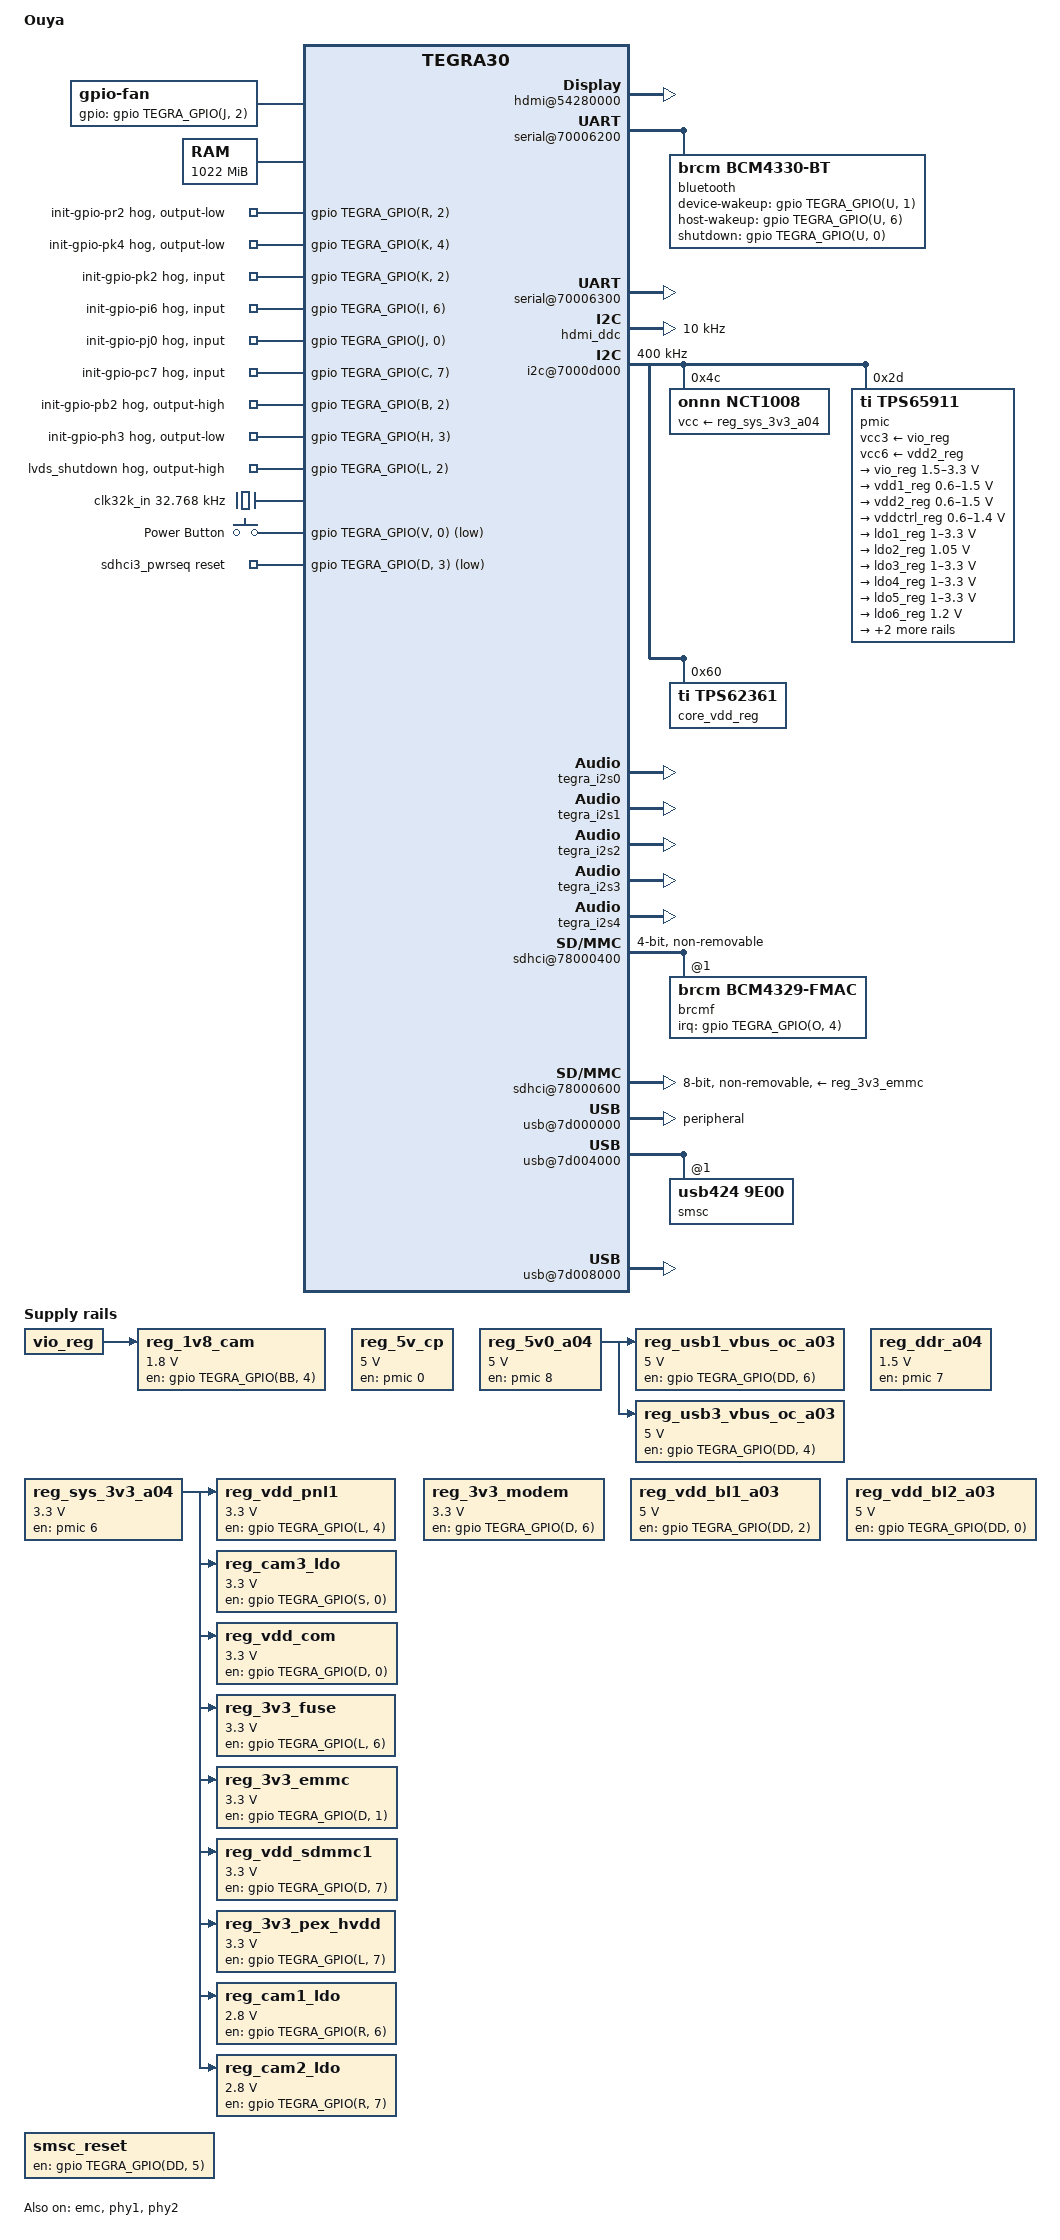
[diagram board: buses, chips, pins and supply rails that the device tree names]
/dts-v1/;

#include <dt-bindings/input/input.h>
#include <dt-bindings/thermal/thermal.h>

#include "tegra30.dtsi"
#include "tegra30-cpu-opp.dtsi"
#include "tegra30-cpu-opp-microvolt.dtsi"
#include "tegra30-ouya-pinmux.dtsi"

/ {
	model = "Ouya";
	compatible = "nvidia,ouya", "nvidia,tegra30";

	aliases {
		/*
		rtc0 = "/i2c@7000d000/tps65911@2d";
		rtc1 = "/rtc@7000e000";
		*/
		serial0 = &uartd;
		serial1 = &uartc;
	};

	chosen {
		stdout-path = "serial0:115200n8";
		bootargs = "ignore_loglevel clk_ignore_unused";
	};

	cpus {
		#address-cells = <1>;
		#size-cells = <0>;

		cpu0: cpu@0 {
			#cooling-cells = <2>;

			cpu-supply = <&vddctrl_reg>;
			core-supply = <&core_vdd_reg>;
		};
		cpu1: cpu@1 {
		};
		cpu2: cpu@2 {
		};
		cpu3: cpu@3 {
		};
	};

	fan: gpio_fan {
		compatible = "gpio-fan";
		gpios = <&gpio TEGRA_GPIO(J, 2) GPIO_ACTIVE_HIGH>;
		gpio-fan,speed-map = <0 0
				      4500 1>;
		#cooling-cells = <2>;
	};

	thermal-zones {
		fan_thermal: fan-thermal {
			polling-delay = <1000>;
			polling-delay-passive = <250>;

			thermal-sensors = <&nct1008 1>;

			trips {
				cpu_alert_fan: cpu-alert-fan {
					temperature = <60000>;
					hysteresis = <15000>;
					type = "active";
				};
				cpu_crit: cpu-crit {
					temperature = <90000>;
					hysteresis = <2000>;
					type = "critical";
				};
			};

			cooling-maps {
				fan-map0 {
					trip = <&cpu_alert_fan>;
					cooling-device = <&fan 1
							  THERMAL_NO_LIMIT>;
				};
			};
		};

		cpufreq_thermal: cpufreq-thermal {
			polling-delay = <1000>;
			polling-delay-passive = <250>;

			thermal-sensors = <&nct1008 0>;

			trips {
				cpufreq_alert: cpufreq-alert {
					temperature = <55000>;
					hysteresis = <10000>;
					type = "active";
				};
			};

			cooling-maps {
				/* Throttle CPU down to 1.16 Ghz */
				cpufreq-map0 {
					trip = <&cpufreq_alert>;
					cooling-device = <&cpu0 0 9>,
							 <&cpu1 0 9>,
							 <&cpu2 0 9>,
							 <&cpu3 0 9>;
				};
			};
		};

	};

	memory@80000000 {
		reg = <0x80000000 0x3fe00000>;
	};

	reserved-memory {
		#address-cells = <1>;
		#size-cells = <1>;
		ranges;

		android_logger: ram-console@beb00000 {
			reg = <0xbeb00000 0x00100000>;
			no-map;
		};
	};

	ram_console {
		compatible = "android,ram-console";
		status = "ok";
		android,ram-buffer-start = <0xbeb00000>;
		android,ram-buffer-size = <0x00100000>;
	};

	firmware {
		trusted-foundations {
			compatible = "tlm,trusted-foundations";
			tlm,version-major = <0x2>;
			tlm,version-minor = <0x8>;
		};
	};

	host1x@50000000 {

		vi@54080000 {
			status = "disabled";
		};

		isp@54100000 {
			status = "disabled";
		};

		hdmi@54280000 {
			status = "okay";
			nvidia,hpd-gpio = <&gpio TEGRA_GPIO(N, 7)
					   GPIO_ACTIVE_HIGH>;
			/* nvidia,ddc-i2c-bus = <&hdmi_ddc>; */

			/* 1280x720 */
			nvidia,edid = [ 00ffffff ffffff00 31d80000 00000000
					05160103 6d211278 ea5ec0a4 594a9825
					20505400 000081c0 01010101 01010101
					01010101 01011a1d 008051d0 1c204080
					35004dbb 1000001e 000000ff 004c696e
					75782023 300a2020 20200000 00fd003b
					3d2b2d08 000a2020 20202020 000000fc
					00313238 30783732 300a2020 2020005b ];
		};
	};

	gpio: gpio@6000d000 {
		/* regulator initialization handles these */
		/*
		init-gpio-pdd6 {
			gpio-hog;
			gpios = <TEGRA_GPIO(DD, 6) GPIO_ACTIVE_HIGH>;
			output-low;
		};
		init-gpio-pdd4 {
			gpio-hog;
			gpios = <TEGRA_GPIO(DD, 4) GPIO_ACTIVE_HIGH>;
			output-low;
		};
		*/
		init-gpio-pr2 {
			gpio-hog;
			gpios = <TEGRA_GPIO(R, 2) GPIO_ACTIVE_HIGH>;
			output-low;
		};

		init-gpio-pk4 {
			gpio-hog;
			gpios = <TEGRA_GPIO(K, 4) GPIO_ACTIVE_HIGH>;
			output-low;
		};
		init-gpio-pk2 {
			gpio-hog;
			gpios = <TEGRA_GPIO(K, 2) GPIO_ACTIVE_HIGH>;
			input;
		};
		init-gpio-pi6 {
			gpio-hog;
			gpios = <TEGRA_GPIO(I, 6) GPIO_ACTIVE_HIGH>;
			input;
		};
		init-gpio-pj0 {
			gpio-hog;
			gpios = <TEGRA_GPIO(J, 0) GPIO_ACTIVE_HIGH>;
			input;
		};
		init-gpio-pc7 {
			gpio-hog;
			gpios = <TEGRA_GPIO(C, 7) GPIO_ACTIVE_HIGH>;
			input;
		};
		init-gpio-pb2 {
			gpio-hog;
			gpios = <TEGRA_GPIO(B, 2) GPIO_ACTIVE_HIGH>;
			output-high;
		};
		init-gpio-ph3 {
			gpio-hog;
			gpios = <TEGRA_GPIO(H, 3) GPIO_ACTIVE_HIGH>;
			output-low;
		};

		init-gpio-pl2 {
			gpio-hog;
			gpios = <TEGRA_GPIO(L, 2) GPIO_ACTIVE_HIGH>;
			output-high;
			line-name = "lvds_shutdown";
		};
	};

	pinmux@70000868 {
		state_default: pinmux {
			/* smsc9500 reset */
			pex_l1_rst_n_pdd5 {
				nvidia,pins = "pex_l1_rst_n_pdd5";
				nvidia,function = "pcie";
				nvidia,pull = <TEGRA_PIN_PULL_DOWN>;
				nvidia,tristate = <TEGRA_PIN_DISABLE>;
				nvidia,enable-input = <TEGRA_PIN_DISABLE>;
			};

			/* wifi reset */
			sdmmc3_dat6_pd3 {
				nvidia,pins = "sdmmc3_dat6_pd3";
				nvidia,function = "sdmmc3";
				nvidia,pull = <TEGRA_PIN_PULL_UP>;
				nvidia,tristate = <TEGRA_PIN_DISABLE>;
				nvidia,enable-input = <TEGRA_PIN_DISABLE>;
			};
			/* wifi power */
			sdmmc3_dat7_pd4 {
				nvidia,pins = "sdmmc3_dat7_pd4";
				nvidia,function = "sdmmc3";
				nvidia,pull = <TEGRA_PIN_PULL_DOWN>;
				nvidia,tristate = <TEGRA_PIN_DISABLE>;
				nvidia,enable-input = <TEGRA_PIN_DISABLE>;
			};

			/* wifi */
			sdmmc3_clk_pa6 {
				nvidia,pins = "sdmmc3_clk_pa6";
				nvidia,function = "sdmmc3";
				nvidia,pull = <TEGRA_PIN_PULL_NONE>;
				nvidia,tristate = <TEGRA_PIN_DISABLE>;
				nvidia,enable-input = <TEGRA_PIN_ENABLE>;
			};
			sdmmc3_cmd_pa7 {
				nvidia,pins = "sdmmc3_cmd_pa7";
				nvidia,function = "sdmmc3";
				nvidia,pull = <TEGRA_PIN_PULL_UP>;
				nvidia,tristate = <TEGRA_PIN_DISABLE>;
				nvidia,enable-input = <TEGRA_PIN_ENABLE>;
			};
			sdmmc3_dat0_pb7 {
				nvidia,pins = "sdmmc3_dat3_pb4",
					      "sdmmc3_dat2_pb5",
					      "sdmmc3_dat1_pb6",
					      "sdmmc3_dat0_pb7";

				nvidia,function = "sdmmc3";
				nvidia,pull = <TEGRA_PIN_PULL_UP>;
				nvidia,tristate = <TEGRA_PIN_DISABLE>;
				nvidia,enable-input = <TEGRA_PIN_ENABLE>;
			};

			/* emmc */
			sdmmc4_clk_pcc4 {
				nvidia,pins = "sdmmc4_clk_pcc4";
				nvidia,function = "sdmmc4";
				nvidia,pull = <TEGRA_PIN_PULL_NONE>;
				nvidia,tristate = <TEGRA_PIN_DISABLE>;
				nvidia,enable-input = <TEGRA_PIN_ENABLE>;
			};
			sdmmc4_cmd_pt7 {
				nvidia,pins = "sdmmc4_cmd_pt7";
				nvidia,function = "sdmmc4";
				nvidia,pull = <TEGRA_PIN_PULL_NONE>;
				nvidia,tristate = <TEGRA_PIN_DISABLE>;
				nvidia,enable-input = <TEGRA_PIN_ENABLE>;
			};
			sdmmc4_dat0_paa0 {
				nvidia,pins =
					"sdmmc4_dat0_paa0", "sdmmc4_dat1_paa1",
					"sdmmc4_dat2_paa2", "sdmmc4_dat3_paa3",
					"sdmmc4_dat4_paa4", "sdmmc4_dat5_paa5",
					"sdmmc4_dat6_paa6", "sdmmc4_dat7_paa7";
				nvidia,function = "sdmmc4";
				nvidia,pull = <TEGRA_PIN_PULL_UP>;
				nvidia,tristate = <TEGRA_PIN_DISABLE>;
				nvidia,enable-input = <TEGRA_PIN_ENABLE>;
			};
			sdmmc4_rst_n_pcc3 {
				nvidia,pins = "sdmmc4_rst_n_pcc3";
				nvidia,function = "sdmmc4";
				nvidia,pull = <TEGRA_PIN_PULL_DOWN>;
				nvidia,tristate = <TEGRA_PIN_DISABLE>;
				nvidia,enable-input = <TEGRA_PIN_ENABLE>;
			};
		};
	};

	serial@70006200 {
		status = "okay";
		compatible = "nvidia,tegra30-hsuart";

		bluetooth {
			compatible = "brcm,bcm4330-bt";
			status = "okay";

			device-wakeup-gpios = <&gpio TEGRA_GPIO(U, 1)
					       GPIO_ACTIVE_HIGH>;
			host-wakeup-gpios = <&gpio TEGRA_GPIO(U, 6)
					     GPIO_ACTIVE_HIGH>;
			shutdown-gpios = <&gpio TEGRA_GPIO(U, 0)
					  GPIO_ACTIVE_HIGH>;

			clocks = <&tegra_car TEGRA30_CLK_UARTC>;
			clock-names = "txco";
			max-speed = <2000000>;
		};
	};

	serial@70006300 {
		status = "okay";
	};

	hdmi_ddc: i2c@7000c700 {
		status = "okay";
		clock-frequency = <10000>;
	};

	i2c@7000d000 {
		status = "okay";
		multi-master;
		clock-frequency = <400000>;

		nct1008: temperature-sensor@4c {
			compatible = "onnn,nct1008";
			reg = <0x4c>;
			vcc-supply = <&reg_sys_3v3_a04>;

			/*
			 * Alert interrupt is broken.
			 * The IRQ remains triggered permanently.
			 */
			/*
			interrupt-parent = <&gpio>;
			interrupts = <TEGRA_GPIO(CC, 2) IRQ_TYPE_LEVEL_LOW>;
			*/

			#thermal-sensor-cells = <1>;
		};

		pmic: tps65911@2d {
			compatible = "ti,tps65911";
			reg = <0x2d>;

			interrupts = <GIC_SPI 86 IRQ_TYPE_LEVEL_HIGH>;
			#interrupt-cells = <2>;
			interrupt-controller;

			#gpio-cells = <2>;
			gpio-controller;

			ti,sleep-enable;
			ti,sleep-keep-ck32k;
			ti,en-gpio-sleep = <0 0 1 0 0 0 0 0 0>;

			ti,system-power-controller;

			/*
			vcc1-supply = <&reg_sys_3v3_a04>;	// vdd1
			vcc2-supply = <&reg_sys_3v3_a04>;	// vdd2
			*/

			vcc3-supply = <&vio_reg>;	// ldo6, ldo7, ldo8

			/*
			vcc4-supply = <&reg_sys_3v3_a04>;	// ldo5
			vcc5-supply = <&reg_sys_3v3_a04>;	// ldo3, ldo4
			*/

			vcc6-supply = <&vdd2_reg>;		// ldo1, ldo2

			/*
			vcc7-supply = <&reg_sys_3v3_a04>;	// vrtc
			vccio-supply = <&reg_sys_3v3_a04>;	// vio
			*/

			regulators {
				vio_reg: vio {
					regulator-name = "vio";
					regulator-min-microvolt = <1500000>;
					regulator-max-microvolt = <3300000>;
					regulator-always-on;
					regulator-boot-on;
				};

				vdd1_reg: vdd1 {
					regulator-name = "vdd1";
					regulator-min-microvolt = <600000>;
					regulator-max-microvolt = <1500000>;
					regulator-always-on;
					regulator-boot-on;
					ti,regulator-ext-sleep-control = <0>;
				};

				vdd2_reg: vdd2 {
					regulator-name = "vdd2";
					regulator-min-microvolt = <600000>;
					regulator-max-microvolt = <1500000>;
					/* regulator-always-on; */
					regulator-boot-on;
				};

				vddctrl_reg: vddctrl {
					regulator-name = "vddctrl";
					regulator-min-microvolt = <600000>;
					regulator-max-microvolt = <1400000>;
					regulator-coupled-with = <&core_vdd_reg>;
					regulator-coupled-max-spread = <300000>;
					regulator-max-step-microvolt = <100000>;
					regulator-always-on;
					regulator-boot-on;
					ti,regulator-ext-sleep-control = <1>;

					nvidia,tegra-cpu-regulator;
				};

				ldo1_reg: ldo1 {
					regulator-name = "ldo1";
					regulator-min-microvolt = <1000000>;
					regulator-max-microvolt = <3300000>;
				};

				ldo2_reg: ldo2 {
					regulator-name = "ldo2";
					regulator-min-microvolt = <1050000>;
					regulator-max-microvolt = <1050000>;
				};

				ldo3_reg: ldo3 {
					regulator-name = "ldo3";
					regulator-min-microvolt = <1000000>;
					regulator-max-microvolt = <3300000>;
				};

				ldo4_reg: ldo4 {
					regulator-name = "ldo4";
					regulator-min-microvolt = <1000000>;
					regulator-max-microvolt = <3300000>;
					regulator-boot-on;
				};

				ldo5_reg: ldo5 {
					regulator-name = "ldo5";
					regulator-min-microvolt = <1000000>;
					regulator-max-microvolt = <3300000>;
				};

				ldo6_reg: ldo6 {
					regulator-name = "ldo6";
					regulator-min-microvolt = <1200000>;
					regulator-max-microvolt = <1200000>;
				};

				ldo7_reg: ldo7 {
					regulator-name = "ldo7";
					regulator-min-microvolt = <1200000>;
					regulator-max-microvolt = <1200000>;
					regulator-always-on;
					regulator-boot-on;
					ti,regulator-ext-sleep-control = <0>;

					/* unimplemented downstream flag */
					/* LDO_LOW_POWER_ON_SUSPEND */
				};

				ldo8_reg: ldo8 {
					regulator-name = "ldo8";
					regulator-min-microvolt = <1000000>;
					regulator-max-microvolt = <3300000>;
					regulator-always-on;
					ti,regulator-ext-sleep-control = <0>;

					/* unimplemented downstream flag */
					/* LDO_LOW_POWER_ON_SUSPEND */
				};
			};
		};

		core_vdd_reg: tps62361@60 {
			compatible = "ti,tps62361";
			reg = <0x60>;

			regulator-name = "tps62361-vout";
			regulator-min-microvolt = <500000>;
			regulator-max-microvolt = <1770000>;
			regulator-coupled-with = <&vddctrl_reg>;
			regulator-coupled-max-spread = <300000>;
			regulator-max-step-microvolt = <100000>;
			regulator-boot-on;
			regulator-always-on;
			ti,vsel0-state-high;
			ti,vsel1-state-high;

			nvidia,tegra-core-regulator;
		};
	};

	pmc@7000e400 {
		status = "okay";
		nvidia,invert-interrupt;
		nvidia,suspend-mode = <1>;
		nvidia,cpu-pwr-good-time = <2000>;
		nvidia,cpu-pwr-off-time = <200>;
		nvidia,core-pwr-good-time = <3845 3845>;
		nvidia,core-pwr-off-time = <0>;
		nvidia,core-power-req-active-high;
		nvidia,sys-clock-req-active-high;
		nvidia,lp0-vec = <0xbddf9000 8192>;

		/* Set DEV_OFF and PWR_OFF bit in DCDC control register of TPS65911 PMIC */
		i2c-thermtrip {
			nvidia,i2c-controller-id = <4>;
			nvidia,bus-addr = <0x2d>;
			nvidia,reg-addr = <0x3f>;
			nvidia,reg-data = <0x81>;
		};
	};

	clock@60006000 {
		nvidia,external-memory-controller = <&emc>;

		emc-timings-1 {
			nvidia,ram-code = <1>;

			timing-400000000 {
				clock-frequency = <400000000>;
				nvidia,parent-clock-frequency = <800000000>;
				clocks = <&tegra_car TEGRA30_CLK_PLL_M>;
				clock-names = "emc-parent";
			};

			timing-800000000 {
				clock-frequency = <800000000>;
				nvidia,parent-clock-frequency = <800000000>;
				clocks = <&tegra_car TEGRA30_CLK_PLL_M>;
				clock-names = "emc-parent";
			};
		};
	};

	memory-controller@7000f000 {
		emc-timings-1 {
			nvidia,ram-code = <1>;

			timing-400000000 {
				clock-frequency = <400000000>;

				nvidia,emem-configuration = <
					0x0000000c /* MC_EMEM_ARB_CFG */
					0xc0000048 /* MC_EMEM_ARB_OUTSTANDING_REQ */
					0x00000001 /* MC_EMEM_ARB_TIMING_RCD */
					0x00000002 /* MC_EMEM_ARB_TIMING_RP */
					0x00000009 /* MC_EMEM_ARB_TIMING_RC */
					0x00000005 /* MC_EMEM_ARB_TIMING_RAS */
					0x00000007 /* MC_EMEM_ARB_TIMING_FAW */
					0x00000001 /* MC_EMEM_ARB_TIMING_RRD */
					0x00000002 /* MC_EMEM_ARB_TIMING_RAP2PRE */
					0x00000008 /* MC_EMEM_ARB_TIMING_WAP2PRE */
					0x00000002 /* MC_EMEM_ARB_TIMING_R2R */
					0x00000002 /* MC_EMEM_ARB_TIMING_W2W */
					0x00000003 /* MC_EMEM_ARB_TIMING_R2W */
					0x00000006 /* MC_EMEM_ARB_TIMING_W2R */
					0x06030202 /* MC_EMEM_ARB_DA_TURNS */
					0x000d0709 /* MC_EMEM_ARB_DA_COVERS */
					0x7086120a /* MC_EMEM_ARB_MISC0 */
					0x001f0000 /* MC_EMEM_ARB_RING1_THROTTLE */
				>;
			};

			timing-800000000 {
				clock-frequency = <800000000>;

				nvidia,emem-configuration = <
					0x00000018 /* MC_EMEM_ARB_CFG */
					0xc0000090 /* MC_EMEM_ARB_OUTSTANDING_REQ */
					0x00000004 /* MC_EMEM_ARB_TIMING_RCD */
					0x00000005 /* MC_EMEM_ARB_TIMING_RP */
					0x00000013 /* MC_EMEM_ARB_TIMING_RC */
					0x0000000c /* MC_EMEM_ARB_TIMING_RAS */
					0x0000000f /* MC_EMEM_ARB_TIMING_FAW */
					0x00000002 /* MC_EMEM_ARB_TIMING_RRD */
					0x00000003 /* MC_EMEM_ARB_TIMING_RAP2PRE */
					0x0000000c /* MC_EMEM_ARB_TIMING_WAP2PRE */
					0x00000002 /* MC_EMEM_ARB_TIMING_R2R */
					0x00000002 /* MC_EMEM_ARB_TIMING_W2W */
					0x00000004 /* MC_EMEM_ARB_TIMING_R2W */
					0x00000008 /* MC_EMEM_ARB_TIMING_W2R */
					0x08040202 /* MC_EMEM_ARB_DA_TURNS */
					0x00160d13 /* MC_EMEM_ARB_DA_COVERS */
					0x712c2414 /* MC_EMEM_ARB_MISC0 */
					0x001f0000 /* MC_EMEM_ARB_RING1_THROTTLE */
				>;
			};
		};
	};

	emc: memory-controller@7000f400 {
		compatible = "nvidia,tegra30-emc";
		status = "okay";

		emc-timings-1 {
			nvidia,ram-code = <1>;

			timing-400000000 {
				compatible = "nvidia,tegra20-emc-table";
				clock-frequency = <400000000>;

				nvidia,emc-rev = <0x32>;

				nvidia,emc-zcal-cnt-long = <0x00000040>;
				nvidia,emc-auto-cal-interval = <0x001fffff>;
				nvidia,emc-periodic-qrst = <0x00000000>;
				nvidia,emc-mode-reset = <0x80000521>;
				nvidia,emc-mode-1 = <0x80100002>;
				nvidia,emc-mode-2 = <0x80200000>;
				nvidia,emc-dsr = <0x00000000>;
				/* nvidia,emc-min-mv = <>; */

				nvidia,emc-configuration = <
					0x00000012 /* EMC_RC */
					0x00000066 /* EMC_RFC */
					0x0000000c /* EMC_RAS */
					0x00000004 /* EMC_RP */
					0x00000003 /* EMC_R2W */
					0x00000008 /* EMC_W2R */
					0x00000002 /* EMC_R2P */
					0x0000000a /* EMC_W2P */
					0x00000004 /* EMC_RD_RCD */
					0x00000004 /* EMC_WR_RCD */
					0x00000002 /* EMC_RRD */
					0x00000001 /* EMC_REXT */
					0x00000000 /* EMC_WEXT */
					0x00000004 /* EMC_WDV */
					0x00000006 /* EMC_QUSE */
					0x00000004 /* EMC_QRST */
					0x0000000a /* EMC_QSAFE */
					0x0000000c /* EMC_RDV */
					0x00000bf0 /* EMC_REFRESH */
					0x00000000 /* EMC_BURST_REFRESH_NUM */
					0x000002fc /* EMC_PRE_REFRESH_REQ_CNT */
					0x00000001 /* EMC_PDEX2WR */
					0x00000008 /* EMC_PDEX2RD */
					0x00000001 /* EMC_PCHG2PDEN */
					0x00000000 /* EMC_ACT2PDEN */
					0x00000008 /* EMC_AR2PDEN */
					0x0000000f /* EMC_RW2PDEN */
					0x0000006c /* EMC_TXSR */
					0x00000200 /* EMC_TXSRDLL */
					0x00000004 /* EMC_TCKE */
					0x00000010 /* EMC_TFAW */
					0x00000000 /* EMC_TRPAB */
					0x00000004 /* EMC_TCLKSTABLE */
					0x00000005 /* EMC_TCLKSTOP */
					0x00000c30 /* EMC_TREFBW */
					0x00000000 /* EMC_QUSE_EXTRA */
					0x00000004 /* EMC_FBIO_CFG6 */
					0x00000000 /* EMC_ODT_WRITE */
					0x00000000 /* EMC_ODT_READ */
					0x00007088 /* EMC_FBIO_CFG5 */
					0x001d0084 /* EMC_CFG_DIG_DLL */
					0x00008000 /* EMC_CFG_DIG_DLL_PERIOD */
					0x0003c000 /* EMC_DLL_XFORM_DQS0 */
					0x0003c000 /* EMC_DLL_XFORM_DQS1 */
					0x0003c000 /* EMC_DLL_XFORM_DQS2 */
					0x0003c000 /* EMC_DLL_XFORM_DQS3 */
					0x0003c000 /* EMC_DLL_XFORM_DQS4 */
					0x0003c000 /* EMC_DLL_XFORM_DQS5 */
					0x0003c000 /* EMC_DLL_XFORM_DQS6 */
					0x0003c000 /* EMC_DLL_XFORM_DQS7 */
					0x00000000 /* EMC_DLL_XFORM_QUSE0 */
					0x00000000 /* EMC_DLL_XFORM_QUSE1 */
					0x00000000 /* EMC_DLL_XFORM_QUSE2 */
					0x00000000 /* EMC_DLL_XFORM_QUSE3 */
					0x00000000 /* EMC_DLL_XFORM_QUSE4 */
					0x00000000 /* EMC_DLL_XFORM_QUSE5 */
					0x00000000 /* EMC_DLL_XFORM_QUSE6 */
					0x00000000 /* EMC_DLL_XFORM_QUSE7 */
					0x00000000 /* EMC_DLI_TRIM_TXDQS0 */
					0x00000000 /* EMC_DLI_TRIM_TXDQS1 */
					0x00000000 /* EMC_DLI_TRIM_TXDQS2 */
					0x00000000 /* EMC_DLI_TRIM_TXDQS3 */
					0x00000000 /* EMC_DLI_TRIM_TXDQS4 */
					0x00000000 /* EMC_DLI_TRIM_TXDQS5 */
					0x00000000 /* EMC_DLI_TRIM_TXDQS6 */
					0x00000000 /* EMC_DLI_TRIM_TXDQS7 */
					0x00048000 /* EMC_DLL_XFORM_DQ0 */
					0x00048000 /* EMC_DLL_XFORM_DQ1 */
					0x00048000 /* EMC_DLL_XFORM_DQ2 */
					0x00048000 /* EMC_DLL_XFORM_DQ3 */
					0x000002a0 /* EMC_XM2CMDPADCTRL */
					0x0800013d /* EMC_XM2DQSPADCTRL2 */
					0x00000000 /* EMC_XM2DQPADCTRL2 */
					0x77fff884 /* EMC_XM2CLKPADCTRL */
					0x01f1f508 /* EMC_XM2COMPPADCTRL */
					0x05057404 /* EMC_XM2VTTGENPADCTRL */
					0x54000007 /* EMC_XM2VTTGENPADCTRL2 */
					0x080001e8 /* EMC_XM2QUSEPADCTRL */
					0x08000021 /* EMC_XM2DQSPADCTRL3 */
					0x00000802 /* EMC_CTT_TERM_CTRL */
					0x00020000 /* EMC_ZCAL_INTERVAL */
					0x00000100 /* EMC_ZCAL_WAIT_CNT */
					0x0158000c /* EMC_MRS_WAIT_CNT */
					0xa0f10000 /* EMC_AUTO_CAL_CONFIG */
					0x00000000 /* EMC_CTT */
					0x00000000 /* EMC_CTT_DURATION */
					0x800018c8 /* EMC_DYN_SELF_REF_CONTROL */

					0xe8000000 /* EMC_FBIO_SPARE */
					0xff00ff89 /* EMC_CFG_RSV */
				>;
			};

			timing-800000000 {
				compatible = "nvidia,tegra20-emc-table";
				clock-frequency = <800000000>;

				nvidia,emc-rev = <0x32>;

				nvidia,emc-zcal-cnt-long = <0x00000040>;
				nvidia,emc-auto-cal-interval = <0x001fffff>;
				nvidia,emc-periodic-qrst = <0x00000001>;
				nvidia,emc-mode-reset = <0x80000d71>;
				nvidia,emc-mode-1 = <0x80100002>;
				nvidia,emc-mode-2 = <0x80200018>;
				nvidia,emc-dsr = <0x00000000>;
				/* nvidia,emc-min-mv = <>; */

				nvidia,emc-configuration = <
					0x00000025 /* EMC_RC */
					0x000000ee /* EMC_RFC */
					0x0000001a /* EMC_RAS */
					0x00000009 /* EMC_RP */
					0x00000005 /* EMC_R2W */
					0x0000000d /* EMC_W2R */
					0x00000004 /* EMC_R2P */
					0x00000013 /* EMC_W2P */
					0x00000009 /* EMC_RD_RCD */
					0x00000009 /* EMC_WR_RCD */
					0x00000003 /* EMC_RRD */
					0x00000001 /* EMC_REXT */
					0x00000000 /* EMC_WEXT */
					0x00000007 /* EMC_WDV */
					0x0000000a /* EMC_QUSE */
					0x00000009 /* EMC_QRST */
					0x0000000b /* EMC_QSAFE */
					0x00000011 /* EMC_RDV */
					0x00001820 /* EMC_REFRESH */
					0x00000000 /* EMC_BURST_REFRESH_NUM */
					0x00000608 /* EMC_PRE_REFRESH_REQ_CNT */
					0x00000003 /* EMC_PDEX2WR */
					0x00000012 /* EMC_PDEX2RD */
					0x00000001 /* EMC_PCHG2PDEN */
					0x00000000 /* EMC_ACT2PDEN */
					0x0000000f /* EMC_AR2PDEN */
					0x00000018 /* EMC_RW2PDEN */
					0x000000f8 /* EMC_TXSR */
					0x00000200 /* EMC_TXSRDLL */
					0x00000005 /* EMC_TCKE */
					0x00000020 /* EMC_TFAW */
					0x00000000 /* EMC_TRPAB */
					0x00000007 /* EMC_TCLKSTABLE */
					0x00000008 /* EMC_TCLKSTOP */
					0x00001860 /* EMC_TREFBW */
					0x0000000b /* EMC_QUSE_EXTRA */
					0x00000006 /* EMC_FBIO_CFG6 */
					0x00000000 /* EMC_ODT_WRITE */
					0x00000000 /* EMC_ODT_READ */
					0x00005088 /* EMC_FBIO_CFG5 */
					0xf0070191 /* EMC_CFG_DIG_DLL */
					0x00008000 /* EMC_CFG_DIG_DLL_PERIOD */
					0x0000000c /* EMC_DLL_XFORM_DQS0 */
					0x007fc00a /* EMC_DLL_XFORM_DQS1 */
					0x00000008 /* EMC_DLL_XFORM_DQS2 */
					0x0000000a /* EMC_DLL_XFORM_DQS3 */
					0x0000000a /* EMC_DLL_XFORM_DQS4 */
					0x0000000a /* EMC_DLL_XFORM_DQS5 */
					0x0000000a /* EMC_DLL_XFORM_DQS6 */
					0x0000000a /* EMC_DLL_XFORM_DQS7 */
					0x00018000 /* EMC_DLL_XFORM_QUSE0 */
					0x00018000 /* EMC_DLL_XFORM_QUSE1 */
					0x00018000 /* EMC_DLL_XFORM_QUSE2 */
					0x00018000 /* EMC_DLL_XFORM_QUSE3 */
					0x00018000 /* EMC_DLL_XFORM_QUSE4 */
					0x00018000 /* EMC_DLL_XFORM_QUSE5 */
					0x00018000 /* EMC_DLL_XFORM_QUSE6 */
					0x00018000 /* EMC_DLL_XFORM_QUSE7 */
					0x00000000 /* EMC_DLI_TRIM_TXDQS0 */
					0x00000000 /* EMC_DLI_TRIM_TXDQS1 */
					0x00000000 /* EMC_DLI_TRIM_TXDQS2 */
					0x00000000 /* EMC_DLI_TRIM_TXDQS3 */
					0x00000000 /* EMC_DLI_TRIM_TXDQS4 */
					0x00000000 /* EMC_DLI_TRIM_TXDQS5 */
					0x00000000 /* EMC_DLI_TRIM_TXDQS6 */
					0x00000000 /* EMC_DLI_TRIM_TXDQS7 */
					0x0000000a /* EMC_DLL_XFORM_DQ0 */
					0x0000000c /* EMC_DLL_XFORM_DQ1 */
					0x0000000a /* EMC_DLL_XFORM_DQ2 */
					0x0000000a /* EMC_DLL_XFORM_DQ3 */
					0x000002a0 /* EMC_XM2CMDPADCTRL */
					0x0600013d /* EMC_XM2DQSPADCTRL2 */
					0x22220000 /* EMC_XM2DQPADCTRL2 */
					0x77fff884 /* EMC_XM2CLKPADCTRL */
					0x01f1f501 /* EMC_XM2COMPPADCTRL */
					0x07077404 /* EMC_XM2VTTGENPADCTRL */
					0x54000000 /* EMC_XM2VTTGENPADCTRL2 */
					0x080001e8 /* EMC_XM2QUSEPADCTRL */
					0x0a000021 /* EMC_XM2DQSPADCTRL3 */
					0x00000802 /* EMC_CTT_TERM_CTRL */
					0x00020000 /* EMC_ZCAL_INTERVAL */
					0x00000100 /* EMC_ZCAL_WAIT_CNT */
					0x00d0000c /* EMC_MRS_WAIT_CNT */
					0xa0f10000 /* EMC_AUTO_CAL_CONFIG */
					0x00000000 /* EMC_CTT */
					0x00000000 /* EMC_CTT_DURATION */
					0x8000308c /* EMC_DYN_SELF_REF_CONTROL */

					0xe8000000 /* EMC_FBIO_SPARE */
					0xff00ff49 /* EMC_CFG_RSV */
				>;
			};
		};
	};

	hda@70030000 {
		status = "okay";
	};

	ahub@70080000 {
		tegra_i2s0: i2s@70080300 {
			status = "okay";
		};
		tegra_i2s1: i2s@70080400 {
			status = "okay";
		};
		tegra_i2s2: i2s@70080500 {
			status = "okay";
		};
		tegra_i2s3: i2s@70080600 {
			status = "okay";
		};
		tegra_i2s4: i2s@70080700 {
			status = "okay";
		};
	};

	sdhci@78000400 {
		status = "okay";
		power-gpios = <&gpio TEGRA_GPIO(D, 4) GPIO_ACTIVE_HIGH>;
		bus-width = <4>;
		max-frequency = <52000000>;
		cap-sdio-irq;
		keep-power-in-suspend;
		non-removable;

		wakeup-source;

		mmc-pwrseq = <&sdhci3_pwrseq>;

		brcmf: wifi@1 {
			compatible = "brcm,bcm4329-fmac";
			interrupt-parent = <&gpio>;
			interrupts = <TEGRA_GPIO(O, 4) IRQ_TYPE_LEVEL_HIGH>;
			interrupt-names = "host-wake";
		};
	};

	sdhci@78000600 {
		status = "okay";
		bus-width = <8>;

		keep-power-in-suspend;
		mmc-ddr-1_8v;
		non-removable;

		vmmc-supply = <&reg_3v3_emmc>;
		vqmmc-supply = <&vio_reg>;
	};

	usb@7d000000 {
		compatible = "nvidia,tegra20-udc";
		status = "okay";
		dr_mode = "peripheral";
	};

	phy1: usb-phy@7d000000 {
		compatible = "nvidia,tegra30-usb-phy";
		status = "okay";
		nvidia,hssync-start-delay = <0>;
		nvidia,xcvr-lsfslew = <2>;
		nvidia,xcvr-lsrslew = <2>;
	};

	usb@7d004000 {
		compatible = "nvidia,tegra30-ehci", "usb-ehci";
		status = "okay";

		smsc@1 {
			compatible = "usb424,9e00";
		};
	};

	phy2: usb-phy@7d004000 {
		compatible = "nvidia,tegra30-usb-phy";
		status = "okay";

		nvidia,hssync-start-delay = <0>;
		nvidia,idle-wait-delay = <17>;
		nvidia,elastic-limit = <16>;
		nvidia,term-range-adj = <6>;
		nvidia,xcvr-setup = <15>;
		nvidia,xcvr-setup-use-fuses;
		nvidia,xcvr-lsfslew = <2>;
		nvidia,xcvr-lsrslew = <2>;

		/*
		 * smsc9500 needs to be reset on usb init.
		 * Use a dummy regulator to trigger the reset gpio
		 */
		vbus-supply = <&smsc_reset>;
	};

	usb@7d008000 {
		status = "okay";
	};

	phy3: usb-phy@7d008000 {
		vbus-supply = <&reg_usb3_vbus_oc_a03>;
		status = "okay";
		nvidia,xcvr-setup = <8>;
		nvidia,xcvr-hsslew = <8>;
		nvidia,hsdiscon-level = <1>;
	};

	clocks {
		compatible = "simple-bus";
		#address-cells = <1>;
		#size-cells = <0>;

		clk32k_in: clock@0 {
			compatible = "fixed-clock";
			reg = <0>;
			#clock-cells = <0>;
			clock-frequency = <32768>;
		};
	};

	regulators {
		compatible = "simple-bus";
		#address-cells = <1>;
		#size-cells = <0>;

		reg_5v_cp: regulator@0 {
			compatible = "regulator-fixed";
			reg = <0>;
			regulator-name = "5v_cp";
			regulator-min-microvolt = <5000000>;
			regulator-max-microvolt = <5000000>;
			regulator-always-on;
			regulator-boot-on;
			enable-active-high;
			gpio = <&pmic 0 GPIO_ACTIVE_HIGH>;
		};

		reg_5v0_a04: regulator@1 {
			compatible = "regulator-fixed";
			reg = <1>;
			regulator-name = "5v0";
			regulator-min-microvolt = <5000000>;
			regulator-max-microvolt = <5000000>;
			regulator-always-on;
			regulator-boot-on;
			enable-active-high;
			gpio = <&pmic 8 GPIO_ACTIVE_HIGH>;
		};

		reg_ddr_a04: regulator@2 {
			compatible = "regulator-fixed";
			reg = <2>;
			regulator-name = "ddr";
			regulator-min-microvolt = <1500000>;
			regulator-max-microvolt = <1500000>;
			regulator-always-on;
			regulator-boot-on;
			enable-active-high;
			gpio = <&pmic 7 GPIO_ACTIVE_HIGH>;
		};

		reg_sys_3v3_a04: regulator@3 {
			compatible = "regulator-fixed";
			reg = <3>;
			regulator-name = "sys_3v3";
			regulator-min-microvolt = <3300000>;
			regulator-max-microvolt = <3300000>;
			regulator-always-on;
			regulator-boot-on;
			enable-active-high;
			gpio = <&pmic 6 GPIO_ACTIVE_HIGH>;
		};

		reg_3v3_modem: regulator@5 {
			compatible = "regulator-fixed";
			reg = <5>;
			regulator-name = "3v3_modem";
			regulator-min-microvolt = <3300000>;
			regulator-max-microvolt = <3300000>;
			regulator-always-on;
			enable-active-high;
			gpio =  <&gpio TEGRA_GPIO(D, 6) GPIO_ACTIVE_HIGH>;
		};

		reg_vdd_pnl1: regulator@6 {
			compatible = "regulator-fixed";
			reg = <6>;
			regulator-name = "vdd_pnl1";
			regulator-min-microvolt = <3300000>;
			regulator-max-microvolt = <3300000>;
			enable-active-high;
			gpio =  <&gpio TEGRA_GPIO(L, 4) GPIO_ACTIVE_HIGH>;
			vin-supply = <&reg_sys_3v3_a04>;
		};

		reg_cam3_ldo: regulator@7 {
			compatible = "regulator-fixed";
			reg = <7>;
			regulator-name = "cam3_ldo";
			regulator-min-microvolt = <3300000>;
			regulator-max-microvolt = <3300000>;
			enable-active-high;
			gpio =  <&gpio TEGRA_GPIO(S, 0) GPIO_ACTIVE_HIGH>;
			vin-supply = <&reg_sys_3v3_a04>;
		};

		reg_vdd_com: regulator@8 {
			compatible = "regulator-fixed";
			reg = <8>;
			regulator-name = "vdd_com";
			regulator-min-microvolt = <3300000>;
			regulator-max-microvolt = <3300000>;
			regulator-always-on;
			enable-active-high;
			gpio =  <&gpio TEGRA_GPIO(D, 0) GPIO_ACTIVE_HIGH>;
			vin-supply = <&reg_sys_3v3_a04>;
		};

		reg_3v3_fuse: regulator@9 {
			compatible = "regulator-fixed";
			reg = <9>;
			regulator-name = "3v3_fuse";
			regulator-min-microvolt = <3300000>;
			regulator-max-microvolt = <3300000>;
			enable-active-high;
			gpio =  <&gpio TEGRA_GPIO(L, 6) GPIO_ACTIVE_HIGH>;
			vin-supply = <&reg_sys_3v3_a04>;
		};

		reg_3v3_emmc: regulator@10 {
			compatible = "regulator-fixed";
			reg = <10>;
			regulator-name = "3v3_emmc";
			regulator-min-microvolt = <3300000>;
			regulator-max-microvolt = <3300000>;
			regulator-always-on;
			/*
			 * wifi doesn't work if this isn't boot-on
			 */
			regulator-boot-on;
			enable-active-high;
			gpio =  <&gpio TEGRA_GPIO(D, 1) GPIO_ACTIVE_HIGH>;
			vin-supply = <&reg_sys_3v3_a04>;
		};

		reg_vdd_sdmmc1: regulator@11 {
			compatible = "regulator-fixed";
			reg = <11>;
			regulator-name = "vdd_sdmmc1";
			regulator-min-microvolt = <3300000>;
			regulator-max-microvolt = <3300000>;
			enable-active-high;
			gpio =  <&gpio TEGRA_GPIO(D, 7) GPIO_ACTIVE_HIGH>;
			vin-supply = <&reg_sys_3v3_a04>;
		};

		reg_3v3_pex_hvdd: regulator@12 {
			compatible = "regulator-fixed";
			reg = <12>;
			regulator-name = "3v3_pex_hvdd";
			regulator-min-microvolt = <3300000>;
			regulator-max-microvolt = <3300000>;
			enable-active-high;
			gpio =  <&gpio TEGRA_GPIO(L, 7) GPIO_ACTIVE_HIGH>;
			vin-supply = <&reg_sys_3v3_a04>;
		};

		reg_1v8_cam: regulator@13 {
			compatible = "regulator-fixed";
			reg = <13>;
			regulator-name = "1v8_cam";
			regulator-min-microvolt = <1800000>;
			regulator-max-microvolt = <1800000>;
			enable-active-high;
			gpio =  <&gpio TEGRA_GPIO(BB, 4) GPIO_ACTIVE_HIGH>;
			vin-supply = <&vio_reg>;
		};

		reg_vdd_bl1_a03: regulator@20 {
			compatible = "regulator-fixed";
			reg = <20>;
			regulator-name = "vdd_bl1";
			regulator-min-microvolt = <5000000>;
			regulator-max-microvolt = <5000000>;
			enable-active-high;
			gpio =  <&gpio TEGRA_GPIO(DD, 2) GPIO_ACTIVE_HIGH>;
		};

		reg_vdd_bl2_a03: regulator@21 {
			compatible = "regulator-fixed";
			reg = <21>;
			regulator-name = "vdd_bl2";
			regulator-min-microvolt = <5000000>;
			regulator-max-microvolt = <5000000>;
			enable-active-high;
			gpio =  <&gpio TEGRA_GPIO(DD, 0) GPIO_ACTIVE_HIGH>;
		};

		reg_usb1_vbus_oc_a03: regulator@15 {
			compatible = "regulator-fixed";
			reg = <15>;
			regulator-name = "usb1_vbus_oc_a03";
			regulator-min-microvolt = <5000000>;
			regulator-max-microvolt = <5000000>;
			enable-active-high;
			gpio =  <&gpio TEGRA_GPIO(DD, 6) GPIO_ACTIVE_HIGH>;
			vin-supply = <&reg_5v0_a04>;
		};

		reg_usb3_vbus_oc_a03: regulator@16 {
			compatible = "regulator-fixed";
			reg = <16>;
			regulator-name = "usb3_vbus_oc_a03";
			regulator-min-microvolt = <5000000>;
			regulator-max-microvolt = <5000000>;
			enable-active-high;
			gpio =  <&gpio TEGRA_GPIO(DD, 4) GPIO_ACTIVE_HIGH>;
			vin-supply = <&reg_5v0_a04>;
		};

		reg_cam1_ldo: regulator@18 {
			compatible = "regulator-fixed";
			reg = <18>;
			regulator-name = "cam1_ldo";
			regulator-min-microvolt = <2800000>;
			regulator-max-microvolt = <2800000>;
			enable-active-high;
			gpio =  <&gpio TEGRA_GPIO(R, 6) GPIO_ACTIVE_HIGH>;
			vin-supply = <&reg_sys_3v3_a04>;
		};

		reg_cam2_ldo: regulator@19 {
			compatible = "regulator-fixed";
			reg = <19>;
			regulator-name = "cam2_ldo";
			regulator-min-microvolt = <2800000>;
			regulator-max-microvolt = <2800000>;
			enable-active-high;
			gpio =  <&gpio TEGRA_GPIO(R, 7) GPIO_ACTIVE_HIGH>;
			vin-supply = <&reg_sys_3v3_a04>;
		};
	};

	smsc_reset: regulator {
		compatible = "regulator-fixed";
		regulator-name = "smsc-reset";
		enable-active-high;
		gpio =  <&gpio TEGRA_GPIO(DD, 5) GPIO_ACTIVE_HIGH>;
	};

	gpio-keys {
		compatible = "gpio-keys";

		power {
			label = "Power Button";
			gpios = <&gpio TEGRA_GPIO(V, 0) GPIO_ACTIVE_LOW>;
			linux,code = <116>; /* KEY_POWER */
			debounce-interval = <10>;
			wakeup-source;
		};
	};

	sdhci3_pwrseq: sdhci3_pwrseq {
		compatible = "mmc-pwrseq-simple";
		reset-gpios = <&gpio TEGRA_GPIO(D, 3) GPIO_ACTIVE_LOW>;
		post-power-on-delay-ms = <200>;
	};
};
